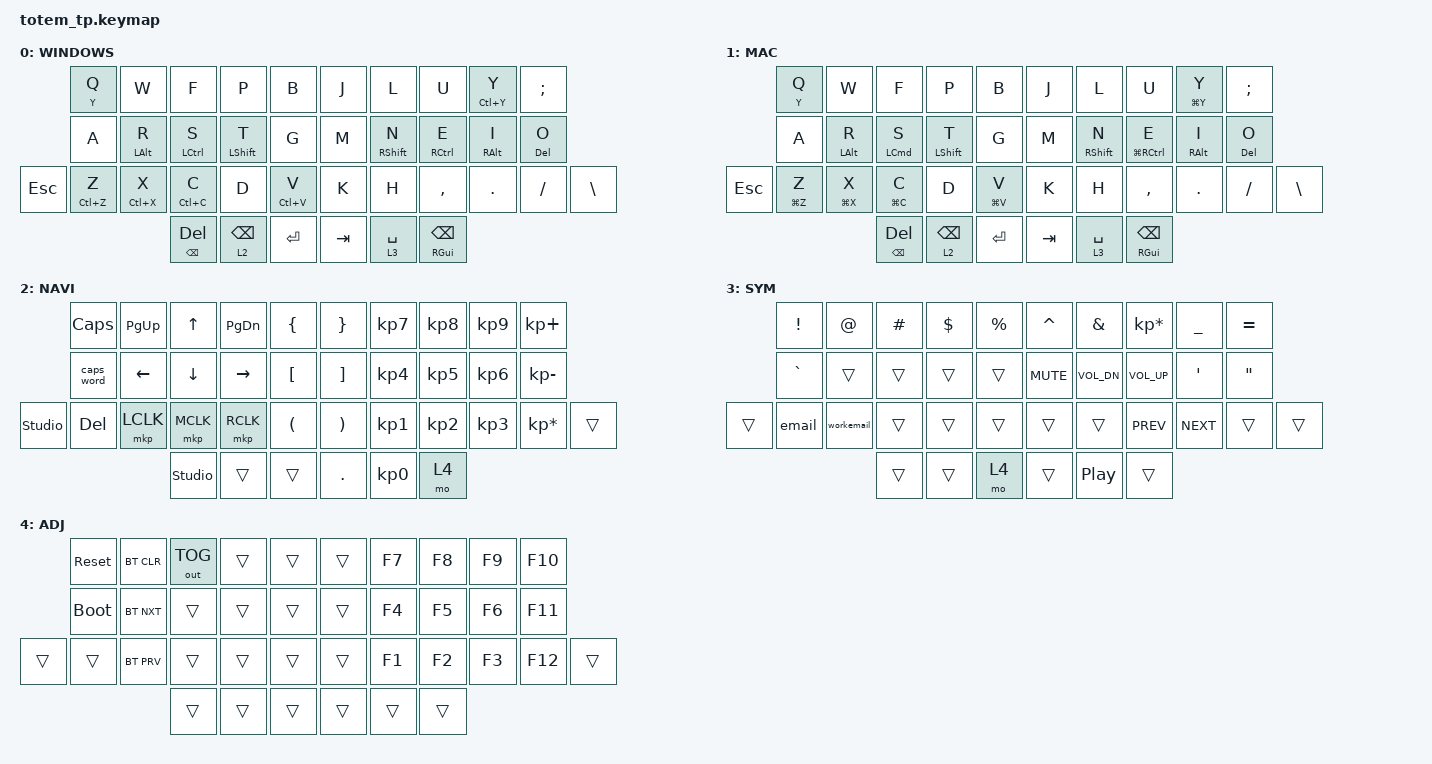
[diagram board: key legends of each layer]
/*
 * Copyright (c) 2020 The ZMK Contributors
 *
 * SPDX-License-Identifier: MIT
 */

#include <behaviors.dtsi>
#include <dt-bindings/zmk/bt.h>
#include <dt-bindings/zmk/keys.h>
#include <dt-bindings/zmk/outputs.h>
/*#include <dt-bindings/zmk/pointing.h>*/

#define WINDOWS 0
#define MAC  1
#define NAV  2
#define SYM  3
#define ADJ  4
#define S_UNDO &kp LC(Z)
#define S_CUT &kp LC(X)
#define S_COPY &kp LC(C)
#define S_PASTE &kp LC(V)
#define S_REDO &kp LC(Y)

/*
 * Defines to enable/disable features
 *
 * These defines allow us to conditionally enable and disable parts of the keymap config.
 *
 * For example, if we decide to build the firmware without the mouse features, we can
 * disable all the config options that rely on those forks and modules without having
 * to edit the entire keymap file manually every time.
 */

#define HAS_MOUSE_KEYS
#define HAS_MOUSE_TP

#ifdef HAS_MOUSE_KEYS
  #include <dt-bindings/zmk/mouse.h>
  #include <behaviors/mouse_keys.dtsi>
#endif  // HAS_MOUSE_KEYS

#ifdef HAS_MOUSE_TP
  // We store the trackpoint settings in a separate file
  // to make organization a little easier.
  #include "include/mouse_tp.dtsi"
#endif  // HAS_MOUSE_TP



// Adjust layer keys based on enabled features.
//
// This prevents build errors when we build the firmware
// without the mouse keys PR or the TP module.
#ifdef HAS_MOUSE_KEYS
  #define U_THUMB_INNER &mo MOUSE_KEYS
#else
  #define U_THUMB_INNER &none
#endif  // HAS_MOUSE_KEYS

#ifdef HAS_MOUSE_TP
  #define U_TOG_TP_SET &tog MOUSE_TP_SET
#else
  #define U_TOG_TP_SET &none
#endif  // HAS_MOUSE_TP

&mt {
    quick-tap-ms = <200>;
    global-quick-tap;
    flavor = "tap-preferred";
    tapping-term-ms = <250>;
};

/ {
    //combos {
    // compatible = "zmk,combos";
    //  combo_esc {
    // timeout-ms = <50>;
    // key-positions = <0 1>;
    // bindings = <&kp ESC>;
    // };
    //  };

    combos {
        compatible = "zmk,combos";

        toggle_mac_on {
            bindings = <&toggle_layer_on 1>;
            key-positions = <20 33>;
            timeout-ms = <250>;
            require-prior-idle-ms = <250>;
            layers = <0>;
        };

        toggle_mac_off {
            bindings = <&toggle_layer_off 1>;
            key-positions = <20 33>;
            layers = <1>;
            timeout-ms = <250>;
            require-prior-idle-ms = <250>;
        };
    };

    macros {
        email: email {
            compatible = "zmk,behavior-macro";
            #binding-cells = <0>;
            bindings = <&kp V &kp I &kp C &kp T &kp O &kp R &kp C &kp H &kp A &kp N1 &kp N9 &kp N9 &kp N6 &kp AT &kp G &kp M &kp A &kp I &kp L &kp DOT &kp C &kp O &kp M>;
            label = "EMAIL";
        };

        workemail: workemail {
            compatible = "zmk,behavior-macro";
            #binding-cells = <0>;
            bindings = <&kp V &kp I &kp C &kp T &kp O &kp R &kp AT &kp C &kp A &kp N &kp T &kp A &kp R &kp A &kp D &kp E &kp S &kp I &kp G &kp N &kp DOT &kp C &kp O &kp M>;
            label = "WORKEMAIL";
        };
    };

    behaviors {
        toggle_layer_on: toggle_layer_on {
            compatible = "zmk,behavior-toggle-layer";
            label = "TOGGLE_LAYER_ON";
            #binding-cells = <1>;
        };

        toggle_layer_off: toggle_layer_off {
            compatible = "zmk,behavior-toggle-layer";
            label = "TOGGLE_LAYER_OFF";
            #binding-cells = <1>;
            toggle-mode = "off";
        };
    };

    keymap {
        compatible = "zmk,keymap";

        // ▄▄▄▄▄▄▄▄▄▄▄▄▄▄▄▄▄▄▄▄▄▄▄▄▄▄▄▄▄▄▄▄▄▄▄▄▄▄▄▄▄▄▄▄▄▄▄▄▄▄▄▄▄▄▄▄▄▄▄▄▄▄▄▄▄▄▄▄▄▄▄▄▄▄▄▄▄▄▄▄▄▄▄▄▄▄▄▄▄▄▄▄▄▄▄▄▄▄▄▄▄▄▄▄▄▄▄▄▄▄▄▄▄▄▄▄▄▄▄▄▄▄▄▄▄▄▄▄▄▄▄▄▄▄▄▄▄▄▄▄▄▄▄▄▄▄▄▄▄

        windows_layer {
            // ┏━━━━━━━━━━━━━━━━━━━━━━━━━━━━━━━━━━━━━━━┓

            label = "WINDOWS";

            // ┗━━━━━━━━━━━━━━━━━━━━━━━━━━━━━━━━━━━━━━━┛
            //             ┏━━━━━━━━━━━┳━━━━━━━━━━━┳━━━━━━━━━━━┳━━━━━━━━━━━┳━━━━━━━━━━━┓               ┏━━━━━━━━━━━┳━━━━━━━━━━━┳━━━━━━━━━━━┳━━━━━━━━━━━┳━━━━━━━━━━━┓
            //             ┃     Q     ┃     W     ┃     F     ┃     P     ┃     B     ┃               ┃     J     ┃     L     ┃     U     ┃     Y     ┃     ;     ┃
            //             ┣━━━━━━━━━━━╋━━━━━━━━━━━╋━━━━━━━━━━━╋━━━━━━━━━━━╋━━━━━━━━━━━┫               ┣━━━━━━━━━━━╋━━━━━━━━━━━╋━━━━━━━━━━━╋━━━━━━━━━━━╋━━━━━━━━━━━┫
            //             ┃     A     ┃     R     ┃     S     ┃     T     ┃     G     ┃               ┃     M     ┃     N     ┃     E     ┃     I     ┃     O     ┃
            // ┏━━━━━━━━━━━╋━━━━━━━━━━━╋━━━━━━━━━━━╋━━━━━━━━━━━╋━━━━━━━━━━━╋━━━━━━━━━━━┫               ┣━━━━━━━━━━━╋━━━━━━━━━━━╋━━━━━━━━━━━╋━━━━━━━━━━━╋━━━━━━━━━━━╋━━━━━━━━━━━┓
            // ┃    ESC    ┃     Z     ┃     X     ┃     C     ┃     D     ┃     V     ┃               ┃     K     ┃     H     ┃     ,     ┃     .     ┃     /     ┃     \     ┃
            // ┗━━━━━━━━━━━┻━━━━━━━━━━━┻━━━━━━━━━━━╋━━━━━━━━━━━╋━━━━━━━━━━━╋━━━━━━━━━━━┫               ┣━━━━━━━━━━━╋━━━━━━━━━━━╋━━━━━━━━━━━╋━━━━━━━━━━━┻━━━━━━━━━━━┻━━━━━━━━━━━┛
            //                                     ┃    DEL    ┃   BSPC    ┃   ENTER   ┃               ┃    TAB    ┃    SPC    ┃   BSPC    ┃
            //                                     ┗━━━━━━━━━━━┻━━━━━━━━━━━┻━━━━━━━━━━━┛               ┗━━━━━━━━━━━┻━━━━━━━━━━━┻━━━━━━━━━━━┛

            bindings = <
         &mt Y Q      &kp W        &kp F              &kp P        &kp B          &kp J    &kp L        &kp U          &mt LC(Y) Y  &kp SEMI
         &kp A        &mt LALT R   &mt LCTRL S        &mt LSHFT T  &kp G          &kp M    &mt RSHFT N  &mt RCTRL E    &mt RALT I   &mt DEL O
&kp ESC  &mt LC(Z) Z  &mt LC(X) X  &mt LC(C) C        &kp D        &mt LC(V) V    &kp K    &kp H        &kp COMMA      &kp DOT      &kp FSLH   &kp BSLH
                                   &mt BACKSPACE DEL  &lt 2 BSPC   &kp RET        &kp TAB  &lt 3 SPACE  &mt RGUI BSPC
            >;
        };

        // ▄▄▄▄▄▄▄▄▄▄▄▄▄▄▄▄▄▄▄▄▄▄▄▄▄▄▄▄▄▄▄▄▄▄▄▄▄▄▄▄▄▄▄▄▄▄▄▄▄▄▄▄▄▄▄▄▄▄▄▄▄▄▄▄▄▄▄▄▄▄▄▄▄▄▄▄▄▄▄▄▄▄▄▄▄▄▄▄▄▄▄▄▄▄▄▄▄▄▄▄▄▄▄▄▄▄▄▄▄▄▄▄▄▄▄▄▄▄▄▄▄▄▄▄▄▄▄▄▄▄▄▄▄▄▄▄▄▄▄▄▄▄▄▄▄▄▄▄▄

        mac_layer {
            // ┏━━━━━━━━━━━━━━━━━━━━━━━━━━━━━━━━━━━━━━━┓

            label = "MAC";

            // ┗━━━━━━━━━━━━━━━━━━━━━━━━━━━━━━━━━━━━━━━┛
            //             ┏━━━━━━━━━━━┳━━━━━━━━━━━┳━━━━━━━━━━━┳━━━━━━━━━━━┳━━━━━━━━━━━┓               ┏━━━━━━━━━━━┳━━━━━━━━━━━┳━━━━━━━━━━━┳━━━━━━━━━━━┳━━━━━━━━━━━┓
            //             ┃     Q     ┃     W     ┃     F     ┃     P     ┃     B     ┃               ┃     J     ┃     L     ┃     U     ┃     Y     ┃     ;     ┃
            //             ┣━━━━━━━━━━━╋━━━━━━━━━━━╋━━━━━━━━━━━╋━━━━━━━━━━━╋━━━━━━━━━━━┫               ┣━━━━━━━━━━━╋━━━━━━━━━━━╋━━━━━━━━━━━╋━━━━━━━━━━━╋━━━━━━━━━━━┫
            //             ┃     A     ┃     R     ┃     S     ┃     T     ┃     G     ┃               ┃     M     ┃     N     ┃     E     ┃     I     ┃     O     ┃
            // ┏━━━━━━━━━━━╋━━━━━━━━━━━╋━━━━━━━━━━━╋━━━━━━━━━━━╋━━━━━━━━━━━╋━━━━━━━━━━━┫               ┣━━━━━━━━━━━╋━━━━━━━━━━━╋━━━━━━━━━━━╋━━━━━━━━━━━╋━━━━━━━━━━━╋━━━━━━━━━━━┓
            // ┃    ESC    ┃     Z     ┃     X     ┃     C     ┃     D     ┃     V     ┃               ┃     K     ┃     H     ┃     ,     ┃     .     ┃     /     ┃     \     ┃
            // ┗━━━━━━━━━━━┻━━━━━━━━━━━┻━━━━━━━━━━━╋━━━━━━━━━━━╋━━━━━━━━━━━╋━━━━━━━━━━━┫               ┣━━━━━━━━━━━╋━━━━━━━━━━━╋━━━━━━━━━━━╋━━━━━━━━━━━┻━━━━━━━━━━━┻━━━━━━━━━━━┛
            //                                     ┃    DEL    ┃   BSPC    ┃   ENTER   ┃               ┃    TAB    ┃    SPC    ┃   BSPC    ┃
            //                                     ┗━━━━━━━━━━━┻━━━━━━━━━━━┻━━━━━━━━━━━┛               ┗━━━━━━━━━━━┻━━━━━━━━━━━┻━━━━━━━━━━━┛

            bindings = <
         &mt Y Q      &kp W        &kp F               &kp P        &kp B          &kp J    &kp L        &kp U            &mt LG(Y) Y  &kp SEMI
         &kp A        &mt LALT R   &mt LEFT_COMMAND S  &mt LSHFT T  &kp G          &kp M    &mt RSHFT N  &mt LG(RCTRL) E  &mt RALT I   &mt DEL O
&kp ESC  &mt LG(Z) Z  &mt LG(X) X  &mt LG(C) C         &kp D        &mt LG(V) V    &kp K    &kp H        &kp COMMA        &kp DOT      &kp FSLH   &kp BSLH
                                   &mt BACKSPACE DEL   &lt 2 BSPC   &kp RET        &kp TAB  &lt 3 SPACE  &mt RGUI BSPC
            >;
        };

        // ▄▄▄▄▄▄▄▄▄▄▄▄▄▄▄▄▄▄▄▄▄▄▄▄▄▄▄▄▄▄▄▄▄▄▄▄▄▄▄▄▄▄▄▄▄▄▄▄▄▄▄▄▄▄▄▄▄▄▄▄▄▄▄▄▄▄▄▄▄▄▄▄▄▄▄▄▄▄▄▄▄▄▄▄▄▄▄▄▄▄▄▄▄▄▄▄▄▄▄▄▄▄▄▄▄▄▄▄▄▄▄▄▄▄▄▄▄▄▄▄▄▄▄▄▄▄▄▄▄▄▄▄▄▄▄▄▄▄▄▄▄▄▄▄▄▄▄▄▄

        nav_layer {
            // ┏━━━━━━━━━━━━━━━━━━━━━━━━━━━━━━━━━━━━━━━┓

            label = "NAVI";

            // ┗━━━━━━━━━━━━━━━━━━━━━━━━━━━━━━━━━━━━━━━┛
            //             ┏━━━━━━━━━━━┳━━━━━━━━━━━┳━━━━━━━━━━━┳━━━━━━━━━━━┳━━━━━━━━━━━┓   ┏━━━━━━━━━━━┳━━━━━━━━━━━┳━━━━━━━━━━━┳━━━━━━━━━━━┳━━━━━━━━━━━┓
            //             ┃  C LOCK   ┃   P UP    ┃     UP    ┃  P DOWN   ┃     {     ┃   ┃     }     ┃     7     ┃     8     ┃     9     ┃     +     ┃
            //             ┣━━━━━━━━━━━╋━━━━━━━━━━━╋━━━━━━━━━━━╋━━━━━━━━━━━╋━━━━━━━━━━━┫   ┣━━━━━━━━━━━╋━━━━━━━━━━━╋━━━━━━━━━━━╋━━━━━━━━━━━╋━━━━━━━━━━━┫
            //             ┃  C WORD   ┃   LEFT    ┃    DOWN   ┃   RIGHT   ┃     [     ┃   ┃     ]     ┃     4     ┃     5     ┃     6     ┃     -     ┃
            // ┏━━━━━━━━━━━╋━━━━━━━━━━━╋━━━━━━━━━━━╋━━━━━━━━━━━╋━━━━━━━━━━━╋━━━━━━━━━━━┫   ┣━━━━━━━━━━━╋━━━━━━━━━━━╋━━━━━━━━━━━╋━━━━━━━━━━━╋━━━━━━━━━━━╋━━━━━━━━━━━┓
            // ┃           ┃           ┃  L CLICK  ┃  M CLICK  ┃  R CLICK  ┃     (     ┃   ┃     )     ┃     1     ┃     2     ┃     3     ┃     *     ┃           ┃
            // ┗━━━━━━━━━━━┻━━━━━━━━━━━┻━━━━━━━━━━━╋━━━━━━━━━━━╋━━━━━━━━━━━╋━━━━━━━━━━━┫   ┣━━━━━━━━━━━╋━━━━━━━━━━━╋━━━━━━━━━━━╋━━━━━━━━━━━┻━━━━━━━━━━━┻━━━━━━━━━━━┛
            //                                     ┃           ┃   BSPC    ┃   ENTER   ┃   ┃    DEL    ┃     0     ┃           ┃
            //                                     ┗━━━━━━━━━━━┻━━━━━━━━━━━┻━━━━━━━━━━━┛   ┗━━━━━━━━━━━┻━━━━━━━━━━━┻━━━━━━━━━━━┛

            bindings = <
                &kp CLCK    &kp PAGE_UP  &kp UP          &kp PAGE_DOWN  &kp LBRC    &kp RBRC    &kp KP_N7  &kp KP_N8  &kp KP_N9  &kp KP_PLUS
                &caps_word  &kp LEFT     &kp DOWN        &kp RIGHT      &kp LBKT    &kp RBKT    &kp KP_N4  &kp KP_N5  &kp KP_N6  &kp KP_MINUS
&studio_unlock  &kp DEL     &mkp LCLK    &mkp MCLK       &mkp RCLK      &kp LPAR    &kp RPAR    &kp KP_N1  &kp KP_N2  &kp KP_N3  &kp KP_MULTIPLY  &trans
                                         &studio_unlock  &trans         &trans      &kp PERIOD  &kp KP_N0  &mo 4
            >;
        };

        // ▄▄▄▄▄▄▄▄▄▄▄▄▄▄▄▄▄▄▄▄▄▄▄▄▄▄▄▄▄▄▄▄▄▄▄▄▄▄▄▄▄▄▄▄▄▄▄▄▄▄▄▄▄▄▄▄▄▄▄▄▄▄▄▄▄▄▄▄▄▄▄▄▄▄▄▄▄▄▄▄▄▄▄▄▄▄▄▄▄▄▄▄▄▄▄▄▄▄▄▄▄▄▄▄▄▄▄▄▄▄▄▄▄▄▄▄▄▄▄▄▄▄▄▄▄▄▄▄▄▄▄▄▄▄▄▄▄▄▄▄▄▄▄▄▄▄▄▄▄

        sim_layer {
            // ┏━━━━━━━━━━━━━━━━━━━━━━━━━━━━━━━━━━━━━━━┓

            label = "SYM";

            // ┗━━━━━━━━━━━━━━━━━━━━━━━━━━━━━━━━━━━━━━━┛
            //             ┏━━━━━━━━━━━┳━━━━━━━━━━━┳━━━━━━━━━━━┳━━━━━━━━━━━┳━━━━━━━━━━━┓   ┏━━━━━━━━━━━┳━━━━━━━━━━━┳━━━━━━━━━━━┳━━━━━━━━━━━┳━━━━━━━━━━━┓
            //             ┃     !     ┃     @     ┃     #     ┃     $     ┃     %     ┃   ┃     ˆ     ┃     &     ┃     *     ┃     '     ┃     "     ┃
            //             ┣━━━━━━━━━━━╋━━━━━━━━━━━╋━━━━━━━━━━━╋━━━━━━━━━━━╋━━━━━━━━━━━┫   ┣━━━━━━━━━━━╋━━━━━━━━━━━╋━━━━━━━━━━━╋━━━━━━━━━━━╋━━━━━━━━━━━┫
            //             ┃     Ä     ┃           ┃    SZ     ┃           ┃           ┃   ┃   MUTE    ┃    VOL-   ┃   VOL+    ┃           ┃           ┃
            // ┏━━━━━━━━━━━╋━━━━━━━━━━━╋━━━━━━━━━━━╋━━━━━━━━━━━╋━━━━━━━━━━━╋━━━━━━━━━━━┫   ┣━━━━━━━━━━━╋━━━━━━━━━━━╋━━━━━━━━━━━╋━━━━━━━━━━━╋━━━━━━━━━━━╋━━━━━━━━━━━┓
            // ┃           ┃  EMAIL1   ┃  EMAIL2   ┃           ┃           ┃           ┃   ┃     _     ┃     =     ┃   LAST    ┃   NEXT    ┃     \     ┃           ┃
            // ┗━━━━━━━━━━━┻━━━━━━━━━━━┻━━━━━━━━━━━╋━━━━━━━━━━━╋━━━━━━━━━━━╋━━━━━━━━━━━┫   ┣━━━━━━━━━━━╋━━━━━━━━━━━╋━━━━━━━━━━━╋━━━━━━━━━━━┻━━━━━━━━━━━┻━━━━━━━━━━━┛
            //                                     ┃           ┃           ┃    ADJ    ┃   ┃           ┃           ┃           ┃
            //                                     ┗━━━━━━━━━━━┻━━━━━━━━━━━┻━━━━━━━━━━━┛   ┗━━━━━━━━━━━┻━━━━━━━━━━━┻━━━━━━━━━━━┛

            bindings = <
        &kp EXCL   &kp AT      &kp HASH  &kp DLLR  &kp PRCNT    &kp CARET   &kp AMPS      &kp KP_ASTERISK  &kp UNDERSCORE  &kp EQUAL
        &kp GRAVE  &trans      &trans    &trans    &trans       &kp C_MUTE  &kp C_VOL_DN  &kp C_VOL_UP     &kp SQT         &kp DQT
&trans  &email     &workemail  &trans    &trans    &trans       &trans      &trans        &kp C_PREV       &kp C_NEXT      &trans     &trans
                               &trans    &trans    &mo 4        &trans      &kp C_PP      &trans
            >;
        };

        // ▄▄▄▄▄▄▄▄▄▄▄▄▄▄▄▄▄▄▄▄▄▄▄▄▄▄▄▄▄▄▄▄▄▄▄▄▄▄▄▄▄▄▄▄▄▄▄▄▄▄▄▄▄▄▄▄▄▄▄▄▄▄▄▄▄▄▄▄▄▄▄▄▄▄▄▄▄▄▄▄▄▄▄▄▄▄▄▄▄▄▄▄▄▄▄▄▄▄▄▄▄▄▄▄▄▄▄▄▄▄▄▄▄▄▄▄▄▄▄▄▄▄▄▄▄▄▄▄▄▄▄▄▄▄▄▄▄▄▄▄▄▄▄▄▄▄▄▄▄

        adjust_layer {
            // ┏━━━━━━━━━━━━━━━━━━━━━━━━━━━━━━━━━━━━━━━┓

            label = "ADJ";

            // ┗━━━━━━━━━━━━━━━━━━━━━━━━━━━━━━━━━━━━━━━┛
            //             ┏━━━━━━━━━━━┳━━━━━━━━━━━┳━━━━━━━━━━━┳━━━━━━━━━━━┳━━━━━━━━━━━┓   ┏━━━━━━━━━━━┳━━━━━━━━━━━┳━━━━━━━━━━━┳━━━━━━━━━━━┳━━━━━━━━━━━┓
            //             ┃   RESET   ┃ BT CLEAR  ┃  OUT TOG  ┃           ┃           ┃   ┃           ┃    F7     ┃    F8     ┃    F9     ┃    F10    ┃
            //             ┣━━━━━━━━━━━╋━━━━━━━━━━━╋━━━━━━━━━━━╋━━━━━━━━━━━╋━━━━━━━━━━━┫   ┣━━━━━━━━━━━╋━━━━━━━━━━━╋━━━━━━━━━━━╋━━━━━━━━━━━╋━━━━━━━━━━━┫
            //             ┃ BOOTLOAD  ┃ BT NEXT   ┃           ┃           ┃           ┃   ┃           ┃    F4     ┃    F5     ┃    F6     ┃    F11    ┃
            // ┏━━━━━━━━━━━╋━━━━━━━━━━━╋━━━━━━━━━━━╋━━━━━━━━━━━╋━━━━━━━━━━━╋━━━━━━━━━━━┫   ┣━━━━━━━━━━━╋━━━━━━━━━━━╋━━━━━━━━━━━╋━━━━━━━━━━━╋━━━━━━━━━━━╋━━━━━━━━━━━┓
            // ┃           ┃           ┃ BT PREV   ┃           ┃           ┃           ┃   ┃           ┃    F1     ┃    F2     ┃    F3     ┃    F12    ┃           ┃
            // ┗━━━━━━━━━━━┻━━━━━━━━━━━┻━━━━━━━━━━━╋━━━━━━━━━━━╋━━━━━━━━━━━╋━━━━━━━━━━━┫   ┣━━━━━━━━━━━╋━━━━━━━━━━━╋━━━━━━━━━━━╋━━━━━━━━━━━┻━━━━━━━━━━━┻━━━━━━━━━━━┛
            //                                     ┃           ┃           ┃           ┃   ┃           ┃           ┃           ┃
            //                                     ┗━━━━━━━━━━━┻━━━━━━━━━━━┻━━━━━━━━━━━┛   ┗━━━━━━━━━━━┻━━━━━━━━━━━┻━━━━━━━━━━━┛

            bindings = <
        &sys_reset   &bt BT_CLR  &out OUT_TOG  &trans  &trans    &trans  &kp F7  &kp F8  &kp F9  &kp F10
        &bootloader  &bt BT_NXT  &trans        &trans  &trans    &trans  &kp F4  &kp F5  &kp F6  &kp F11
&trans  &trans       &bt BT_PRV  &trans        &trans  &trans    &trans  &kp F1  &kp F2  &kp F3  &kp F12  &trans
                                 &trans        &trans  &trans    &trans  &trans  &trans
            >;
        };
    };
};
